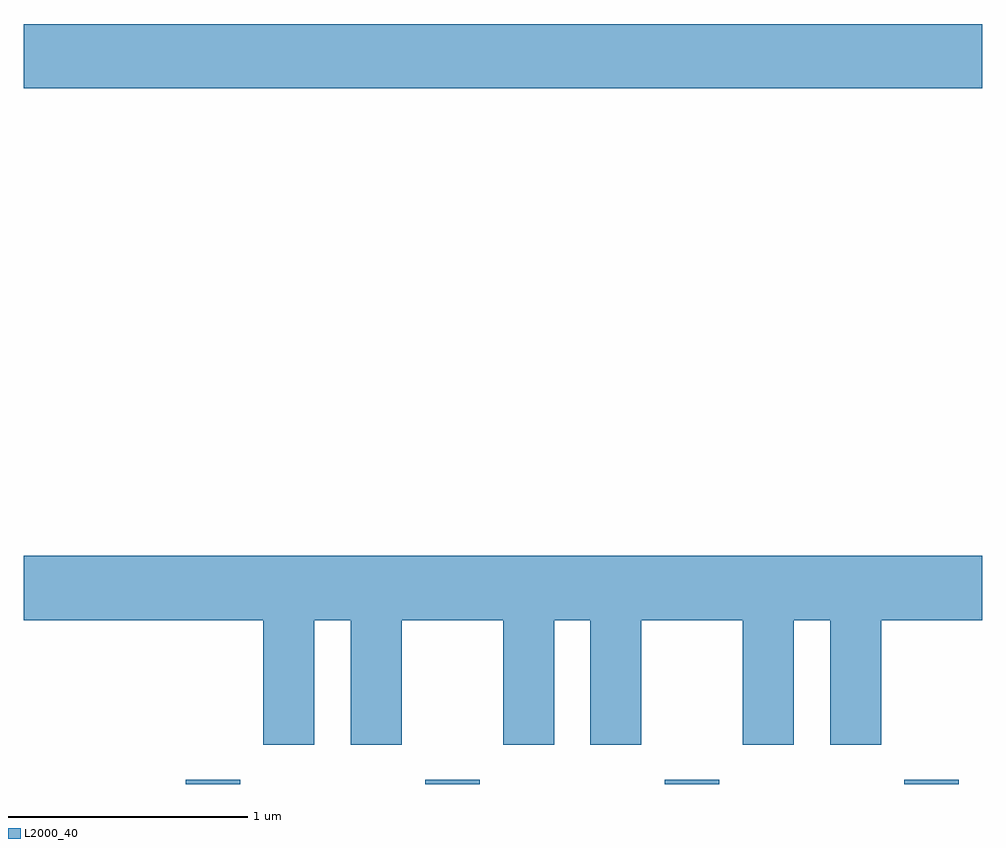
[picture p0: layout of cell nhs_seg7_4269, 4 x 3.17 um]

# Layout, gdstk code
import gdstk
lib = gdstk.Library(unit=1e-6, precision=1e-09)
def R(c, l, rs):  # rectangles x0, y0, x1, y1
    for r in rs: c.add(gdstk.rectangle(r[:2], r[2:], *l))
def A(c, l, x, y, w, h, nx, ny, dx, dy):  # array of equal rectangles
    R(c, l, [(x+i*dx, y+j*dy, x+i*dx+w, y+j*dy+h) for i in range(nx) for j in range(ny)])
def P(c, l, *ps):  # polygons
    for p in ps: c.add(gdstk.Polygon(p, *l))
L2000_40 = (2000, 40)

nhs_seg7_4269 = lib.new_cell('nhs_seg7_4269')
A(nhs_seg7_4269, L2000_40, 316.286, 1760.252, 0.228, 0.017, 4, 1, 1, 0)
R(nhs_seg7_4269, L2000_40, [(315.611,1763.156,319.611,1763.424)])
P(nhs_seg7_4269, L2000_40, [(316.824,1760.936),(316.976,1760.936),(316.976,1760.416),(317.189,1760.416),(317.189,1760.936),(317.611,1760.936),(317.611,1760.416),(317.824,1760.416),(317.824,1760.936),(317.976,1760.936),(317.976,1760.416),(318.189,1760.416),(318.189,1760.936),(318.611,1760.936),(318.611,1760.416),(318.824,1760.416),(318.824,1760.936),(318.976,1760.936),(318.976,1760.416),(319.189,1760.416),(319.189,1760.936),(319.611,1760.936),(319.611,1761.204),(315.611,1761.204),(315.611,1760.936),(316.611,1760.936),(316.611,1760.416),(316.824,1760.416)])

lib.write_gds('nhs_seg7_4269.gds')
